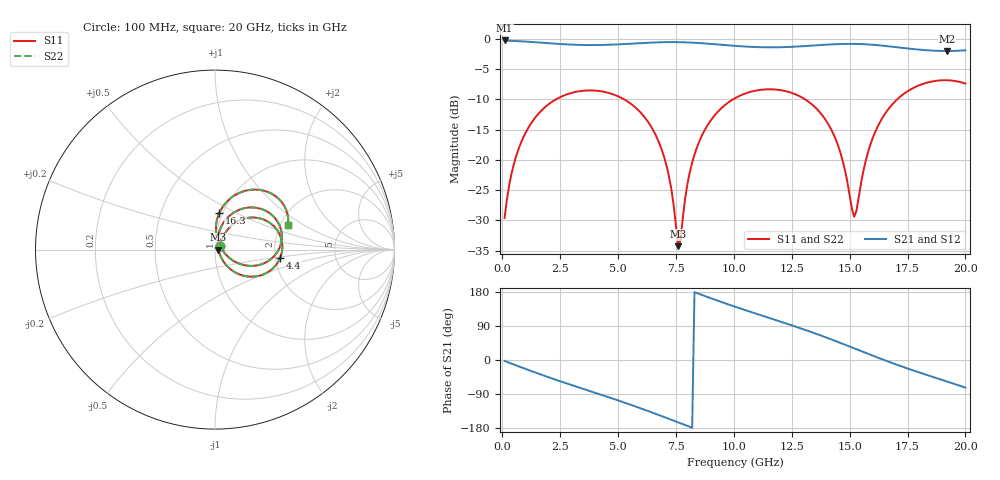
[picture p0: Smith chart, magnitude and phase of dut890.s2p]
! Touchstone file exported from HFSS 2026.1.0
!  File:  C:/ffzhzh/LocalFiles/Ansys_Project_Files/temp_train_TSV_RDL_890_1783275181_39728.aedt
!  Generated:  02:25:55 AM Jul  6, 2026
!  Design:  TSV_RDL
!  Project:  temp_train_TSV_RDL_890_1783275181_39728
! Variables:
!  h_bsmrdl = 4.78um
!  h_ox = 20um
!  h_rdl = 5um
!  h_sub = 92.32um
!  h_tmrdl = 4.09um
!  h_tsv = 92.32um
!  h_via = 3um
!  l_bsmrdl = 887.48um
!  l_sub = 6927.08um
!  l_tmrdl = 933.01um
!  m_sub = 200um
!  pitch = 41.59um
!  r_tsv = 14.38um
!  s_tmrdl = 10um
!  w_bsmrdl = 27.07um
!  w_sub = 500um
!  w_tmrdl = 17.13um
!  x_tsv_center1 = 941.575um
!  x_tsv_center2 = 1856.125um
!  x_tsv_center3 = 2806.265um
!  x_tsv_center4 = 3720.815um
!  x_tsv_center5 = 4670.955um
!  x_tsv_center6 = 5585.505um
# GHz S MA R 50.000000
! Terminal data exported
! Port[1] = TM_RDL1_1_T1
! Port[2] = TM_RDL5_1_T1
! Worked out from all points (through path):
!   200 points, 100 MHz to 20 GHz, reference 50 ohm
!   highest |S21| = -0.24 dB at 100 MHz (marker M1); lowest = -2.0 dB at 19.2 GHz (marker M2)
!   group delay of S21, straight-line fit = 60.2 ps
!   lowest |S11| = -34.3 dB at 7.6 GHz (marker M3), VSWR 1.04, Z = 52 - j0.097 ohm
!   |S11| at or under -10 dB: start of sweep to 2.308 GHz; 5.27 GHz to 9.957 GHz (4.687 GHz wide, 61.6 % of centre); 13.08 GHz to 17.05 GHz (3.965 GHz wide, 26.3 % of centre)
!   |S22| runs from -34.1 to -6.8 dB; largest |S21 - S12| = 1.6e-14
!   S11 on the Smith chart (normalised r, x): 100 MHz: 1.06, +0.04; 4.4 GHz: 2.12, -0.23; 16.3 GHz: 0.96, +0.41; 20 GHz: 2.20, +0.73
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0.1  0.03312 33.2  0.9729 -2.5  0.9729 -2.5  0.03312 33.2
! Gamma 0 0 0 0
! Port Impedance 50 0 50 0
0.5  0.09243 58.1  0.9647 -12.0  0.9647 -12.0  0.09243 58.1
1.2  0.1949 52.3  0.9478 -28.0  0.9478 -28.0  0.1949 52.3
3.5  0.3736 9.7  0.8926 -76.3  0.8926 -76.3  0.3736 9.7
4.4  0.3657 -7.3  0.8939 -94.4  0.8939 -94.4  0.3657 -7.3
5.8  0.2661 -34.4  0.9205 -123.6  0.9205 -123.6  0.2661 -34.3
6.8  0.1347 -52.1  0.9398 -146.1  0.9398 -146.1  0.1347 -52.0
7.3  0.05741 -52.3  0.9432 -157.7  0.9432 -157.7  0.05749 -52.0
7.6  0.01937 -2.8  0.9423 -164.7  0.9423 -164.7  0.01963 -2.6
8  0.06374 75.8  0.9376 -174.1  0.9376 -174.1  0.06383 75.6
8.5  0.141 74.2  0.9266 174.4  0.9266 174.4  0.1411 74.0
10.1  0.328 45.2  0.8764 139.6  0.8764 139.6  0.328 45.2
11.8  0.3823 14.0  0.8539 105.6  0.8539 105.6  0.3824 13.9
13.4  0.2849 -15.3  0.8826 72.6  0.8826 72.6  0.2849 -15.4
14.5  0.1318 -31.1  0.908 47.5  0.908 47.5  0.1317 -31.3
15.2  0.03395 26.4  0.9114 30.7  0.9114 30.7  0.03338 26.3
15.7  0.09922 86.5  0.9043 18.7  0.9043 18.7  0.09902 86.8
16.3  0.2037 83.4  0.8861 4.4  0.8861 4.4  0.2036 83.5
16.7  0.2672 77.0  0.87 -4.8  0.87 -4.8  0.2672 77.1
17.9  0.4066 55.3  0.8201 -30.7  0.8201 -30.7  0.4066 55.3
19.2  0.4563 32.2  0.7958 -56.6  0.7958 -56.6  0.4563 32.3
20  0.4278 18.5  0.8067 -72.8  0.8067 -72.8  0.4279 18.5
